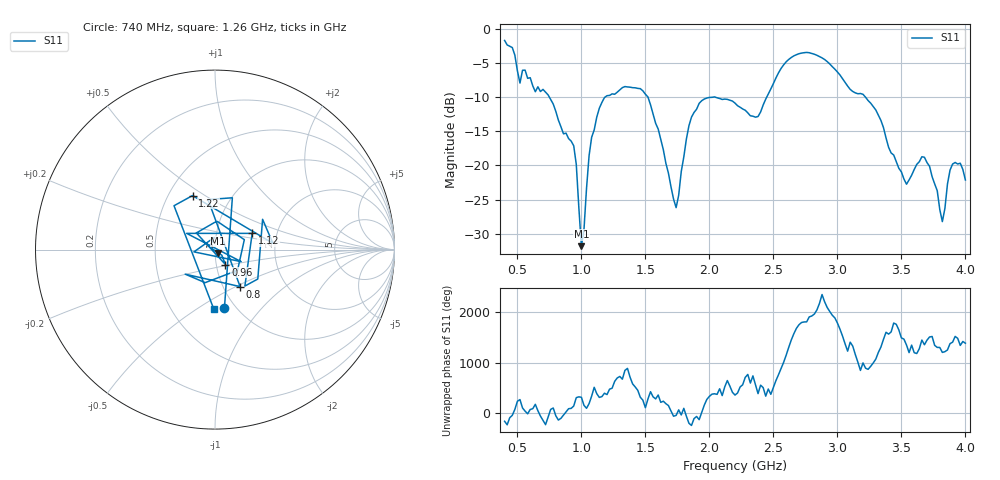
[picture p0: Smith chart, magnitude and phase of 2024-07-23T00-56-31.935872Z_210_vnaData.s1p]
!Created with skrf (http://scikit-rf.org).
# Hz S RI R 50.0
!freq ReS11 ImS11
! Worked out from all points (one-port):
!   181 points, 400 MHz to 4 GHz, reference 50 ohm
!   lowest |S11| = -31.8 dB at 1 GHz (marker M1), VSWR 1.05, Z = 51.7 - j1.97 ohm
!   |S11| at or under -10 dB: 750 MHz to 1.184 GHz (433.8 MHz wide, 44.9 % of centre); 1.52 GHz to 2.026 GHz (505 MHz wide, 28.5 % of centre); 3.22 GHz to end of sweep (the widest 3 of 4)
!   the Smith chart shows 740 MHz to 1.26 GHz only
!   S11 on the Smith chart (normalised r, x): 740 MHz: 0.89, -0.65; 800 MHz: 1.20, -0.53; 960 MHz: 1.11, -0.19; 1.12 GHz: 1.49, +0.28; 1.22 GHz: 0.66, +0.44; 1.26 GHz: 0.79, -0.59
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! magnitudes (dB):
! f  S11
! 400 MHz  -1.7
! 520 MHz  -7.9
! 560 MHz  -6.0
! 740 MHz  -9.7
! 800 MHz  -12.1
! 860 MHz  -15.4
! 960 MHz  -19.8
! 1 GHz  -31.8
! 1.06 GHz  -18.6
! 1.12 GHz  -12.9
! 1.22 GHz  -9.7
! 1.26 GHz  -9.6
! 1.3 GHz  -8.9
! 1.52 GHz  -10.0
! 1.74 GHz  -26.2
! 1.76 GHz  -24.4
! 1.84 GHz  -14.2
! 1.92 GHz  -10.9
! 2.2 GHz  -10.9
! 2.38 GHz  -12.8
! 2.66 GHz  -3.9
! 3.1 GHz  -8.9
! 3.3 GHz  -11.9
! 3.56 GHz  -22.1
! 3.68 GHz  -18.8
! 3.82 GHz  -28.2
! 3.9 GHz  -19.8
! 4 GHz  -22.1
